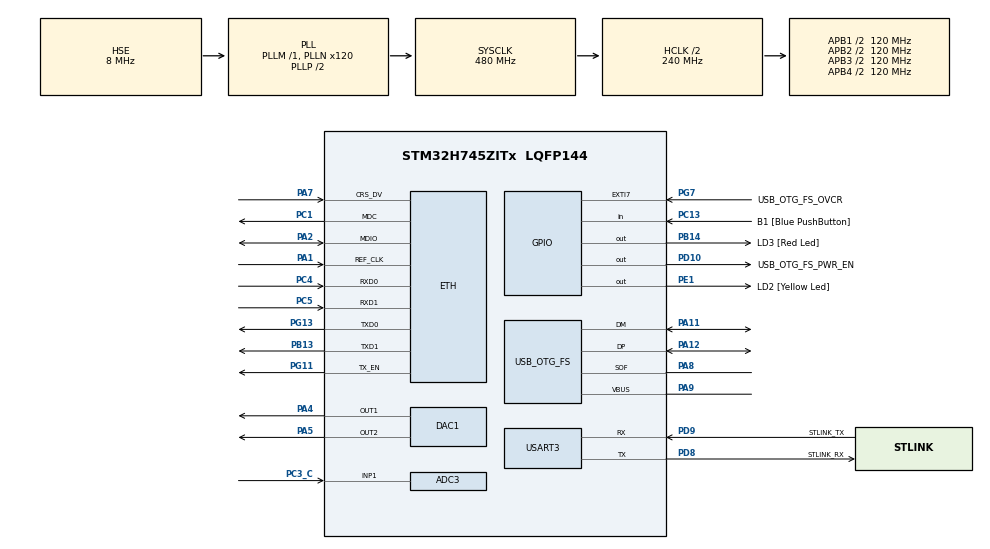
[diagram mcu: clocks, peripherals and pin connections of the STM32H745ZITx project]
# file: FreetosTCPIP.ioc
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ADC3.Channel-0\#ChannelRegularConversion=ADC_CHANNEL_1
ADC3.NbrOfConversionFlag=1
ADC3.OffsetNumber-0\#ChannelRegularConversion=ADC_OFFSET_NONE
ADC3.OffsetSignedSaturation-0\#ChannelRegularConversion=DISABLE
ADC3.Rank-0\#ChannelRegularConversion=1
ADC3.SamplingTime-0\#ChannelRegularConversion=ADC_SAMPLETIME_1CYCLE_5
Bdma.ADC3.0.Direction=DMA_PERIPH_TO_MEMORY
Bdma.ADC3.0.EventEnable=DISABLE
Bdma.ADC3.0.Instance=BDMA_Channel0
Bdma.ADC3.0.MemDataAlignment=DMA_MDATAALIGN_HALFWORD
Bdma.ADC3.0.MemInc=DMA_MINC_ENABLE
Bdma.ADC3.0.Mode=DMA_CIRCULAR
Bdma.ADC3.0.PeriphDataAlignment=DMA_PDATAALIGN_HALFWORD
Bdma.ADC3.0.PeriphInc=DMA_PINC_DISABLE
Bdma.ADC3.0.Polarity=HAL_DMAMUX_REQ_GEN_RISING
Bdma.ADC3.0.Priority=DMA_PRIORITY_LOW
Bdma.ADC3.0.RequestNumber=1
Bdma.ADC3.0.SignalID=NONE
Bdma.ADC3.0.SyncEnable=DISABLE
Bdma.ADC3.0.SyncPolarity=HAL_DMAMUX_SYNC_NO_EVENT
Bdma.ADC3.0.SyncRequestNumber=1
Bdma.ADC3.0.SyncSignalID=NONE
Bdma.Request0=ADC3
Bdma.RequestsNb=1
CORTEX_M7.AccessPermission-Cortex_Memory_Protection_Unit_Region0_Settings=MPU_REGION_FULL_ACCESS
CORTEX_M7.CPU_DCache=Enabled
CORTEX_M7.CPU_ICache=Enabled
CORTEX_M7.Enable-Cortex_Memory_Protection_Unit_Region0_Settings=MPU_REGION_ENABLE
CORTEX_M7.IsBufferable-Cortex_Memory_Protection_Unit_Region0_Settings=MPU_ACCESS_BUFFERABLE
CORTEX_M7.IsCacheable-Cortex_Memory_Protection_Unit_Region0_Settings=MPU_ACCESS_CACHEABLE
CORTEX_M7.IsShareable-Cortex_Memory_Protection_Unit_Region0_Settings=MPU_ACCESS_SHAREABLE
CORTEX_M7.MPU_Control=MPU_PRIVILEGED_DEFAULT
CORTEX_M7.Size-Cortex_Memory_Protection_Unit_Region0_Settings=MPU_REGION_SIZE_512KB
CortexM4.IPs=FATFS_M4\:I,FREERTOS_M4\:I,IWDG2\:I,RCC,WWDG2\:I,DMA,BDMA,MDMA,NVIC2\:I,USART3,DEBUG,USB_DEVICE_M4\:I,USB_HOST_M4\:I,PDM2PCM_M4\:I,PWR,RESMGR_UTILITY,SYS_M4\:I,CORTEX_M4\:I,OPENAMP_M4\:I,VREFBUF
CortexM7.IPs=FATFS_M7\:I,FREERTOS_M7\:I,IWDG1\:I,RCC\:I,WWDG1\:I,DMA\:I,BDMA\:I,MDMA\:I,NVIC1\:I,SYS\:I,USART3\:I,USB_OTG_FS\:I,CORTEX_M7\:I,DEBUG\:I,USB_DEVICE_M7\:I,USB_HOST_M7\:I,PDM2PCM_M7\:I,PWR\:I,RESMGR_UTILITY\:I,OPENAMP_M7\:I,VREFBUF\:I,ADC3\:I,DAC1\:I,TIM6\:I,ETH\:I
DAC1.DAC_Channel-DAC_OUT2=DAC_CHANNEL_2
Dma.DAC1_CH1.0.Direction=DMA_MEMORY_TO_PERIPH
Dma.DAC1_CH1.0.EventEnable=DISABLE
Dma.DAC1_CH1.0.FIFOMode=DMA_FIFOMODE_DISABLE
Dma.DAC1_CH1.0.Instance=DMA1_Stream0
Dma.DAC1_CH1.0.MemDataAlignment=DMA_MDATAALIGN_HALFWORD
Dma.DAC1_CH1.0.MemInc=DMA_MINC_ENABLE
Dma.DAC1_CH1.0.Mode=DMA_CIRCULAR
Dma.DAC1_CH1.0.PeriphDataAlignment=DMA_PDATAALIGN_HALFWORD
Dma.DAC1_CH1.0.PeriphInc=DMA_PINC_DISABLE
Dma.DAC1_CH1.0.Polarity=HAL_DMAMUX_REQ_GEN_RISING
Dma.DAC1_CH1.0.Priority=DMA_PRIORITY_LOW
Dma.DAC1_CH1.0.RequestNumber=1
Dma.DAC1_CH1.0.SignalID=NONE
Dma.DAC1_CH1.0.SyncEnable=DISABLE
Dma.DAC1_CH1.0.SyncPolarity=HAL_DMAMUX_SYNC_NO_EVENT
Dma.DAC1_CH1.0.SyncRequestNumber=1
Dma.DAC1_CH1.0.SyncSignalID=NONE
Dma.DAC1_CH2.1.Direction=DMA_MEMORY_TO_PERIPH
Dma.DAC1_CH2.1.EventEnable=DISABLE
Dma.DAC1_CH2.1.FIFOMode=DMA_FIFOMODE_DISABLE
Dma.DAC1_CH2.1.Instance=DMA1_Stream1
Dma.DAC1_CH2.1.MemDataAlignment=DMA_MDATAALIGN_HALFWORD
Dma.DAC1_CH2.1.MemInc=DMA_MINC_ENABLE
Dma.DAC1_CH2.1.Mode=DMA_CIRCULAR
Dma.DAC1_CH2.1.PeriphDataAlignment=DMA_PDATAALIGN_HALFWORD
Dma.DAC1_CH2.1.PeriphInc=DMA_PINC_DISABLE
Dma.DAC1_CH2.1.Polarity=HAL_DMAMUX_REQ_GEN_RISING
Dma.DAC1_CH2.1.Priority=DMA_PRIORITY_LOW
Dma.DAC1_CH2.1.RequestNumber=1
Dma.DAC1_CH2.1.SignalID=NONE
Dma.DAC1_CH2.1.SyncEnable=DISABLE
Dma.DAC1_CH2.1.SyncPolarity=HAL_DMAMUX_SYNC_NO_EVENT
Dma.DAC1_CH2.1.SyncRequestNumber=1
Dma.DAC1_CH2.1.SyncSignalID=NONE
Dma.Request0=DAC1_CH1
Dma.Request1=DAC1_CH2
ETH.ETH_RX_DESC_CNT=6
ETH.ETH_TX_DESC_CNT=14
ETH.MediaInterface=HAL_ETH_RMII_MODE
ETH.RxBuffAddress=0x30040294
ETH.TxDescAddress=0x30040144
Mcu.Family=STM32H7
Mcu.Name=STM32H745ZITx
Mcu.Package=LQFP144
NVIC1.BDMA_Channel0_IRQn=true\:0\:0\:false\:false\:true\:false\:true
NVIC1.DMA1_Stream0_IRQn=true\:0\:0\:false\:false\:true\:false\:true
NVIC1.DMA1_Stream1_IRQn=true\:0\:0\:false\:false\:true\:false\:true
NVIC1.ETH_IRQn=true\:0\:0\:false\:false\:true\:true\:true
NVIC1.PriorityGroup=NVIC_PRIORITYGROUP_4
NVIC1.TIM2_IRQn=true\:0\:0\:false\:false\:true\:false\:true
NVIC1.TIM6_DAC_IRQn=true\:0\:0\:false\:false\:true\:true\:true
NVIC1.TimeBase=TIM2_IRQn
NVIC1.TimeBaseIP=TIM2
NVIC2.PriorityGroup=NVIC_PRIORITYGROUP_4
PA1.GPIO_Speed=GPIO_SPEED_FREQ_VERY_HIGH
PA1.Mode=RMII
PA1.PinAttribute=CortexM7
PA1.Signal=ETH_REF_CLK
PA11.Mode=Device_Only
PA11.PinAttribute=CortexM7
PA11.Signal=USB_OTG_FS_DM
PA12.Mode=Device_Only
PA12.PinAttribute=CortexM7
PA12.Signal=USB_OTG_FS_DP
PA2.GPIO_Speed=GPIO_SPEED_FREQ_VERY_HIGH
PA2.Mode=RMII
PA2.PinAttribute=CortexM7
PA2.Signal=ETH_MDIO
PA4.PinAttribute=CortexM7
PA4.Signal=COMP_DAC11_group
PA5.PinAttribute=CortexM7
PA5.Signal=COMP_DAC12_group
PA7.GPIO_Speed=GPIO_SPEED_FREQ_VERY_HIGH
PA7.Mode=RMII
PA7.PinAttribute=CortexM7
PA7.Signal=ETH_CRS_DV
PA8.Mode=Activate_SOF_FS
PA8.PinAttribute=CortexM7
PA8.Signal=USB_OTG_FS_SOF
PA9.Mode=Activate_VBUS
PA9.PinAttribute=CortexM7
PA9.Signal=USB_OTG_FS_VBUS
PB0.PinAttribute=CortexM7
PB0.Signal=ETH_RXD2
PB13.GPIO_Speed=GPIO_SPEED_FREQ_VERY_HIGH
PB13.Mode=RMII
PB13.PinAttribute=CortexM7
PB13.Signal=ETH_TXD1
PB14.GPIO_Label=LD3 [Red Led]
PB14.PinAttribute=Free
PB14.Signal=GPIO_Output
PC1.GPIO_Speed=GPIO_SPEED_FREQ_VERY_HIGH
PC1.Mode=RMII
PC1.PinAttribute=CortexM7
PC1.Signal=ETH_MDC
PC13.GPIO_Label=B1 [Blue PushButton]
PC13.PinAttribute=Free
PC13.Signal=GPIO_Input
PC14-OSC32_IN\ (OSC32_IN).Mode=LSE-External-Oscillator
PC14-OSC32_IN\ (OSC32_IN).PinAttribute=CortexM7
PC14-OSC32_IN\ (OSC32_IN).Signal=RCC_OSC32_IN
PC15-OSC32_OUT\ (OSC32_OUT).Mode=LSE-External-Oscillator
PC15-OSC32_OUT\ (OSC32_OUT).PinAttribute=CortexM7
PC15-OSC32_OUT\ (OSC32_OUT).Signal=RCC_OSC32_OUT
PC3_C.Mode=IN1-Single-Ended
PC3_C.PinAttribute=CortexM7
PC3_C.Signal=ADC3_INP1
PC4.GPIO_Speed=GPIO_SPEED_FREQ_VERY_HIGH
PC4.Mode=RMII
PC4.PinAttribute=CortexM7
PC4.Signal=ETH_RXD0
PC5.GPIO_Speed=GPIO_SPEED_FREQ_VERY_HIGH
PC5.Mode=RMII
PC5.PinAttribute=CortexM7
PC5.Signal=ETH_RXD1
PD10.GPIO_Label=USB_OTG_FS_PWR_EN
PD10.PinAttribute=Free
PD10.Signal=GPIO_Output
PD8.GPIO_Label=STLINK_RX
PD8.Mode=Asynchronous
PD8.PinAttribute=CortexM7
PD8.Signal=USART3_TX
PD9.GPIO_Label=STLINK_TX
PD9.Mode=Asynchronous
PD9.PinAttribute=CortexM7
PD9.Signal=USART3_RX
PE1.GPIO_Label=LD2 [Yellow Led]
PE1.PinAttribute=Free
PE1.Signal=GPIO_Output
PG11.GPIO_Speed=GPIO_SPEED_FREQ_VERY_HIGH
PG11.Mode=RMII
PG11.PinAttribute=CortexM7
PG11.Signal=ETH_TX_EN
PG13.GPIO_Speed=GPIO_SPEED_FREQ_VERY_HIGH
PG13.Mode=RMII
PG13.PinAttribute=CortexM7
PG13.Signal=ETH_TXD0
PG7.GPIO_Label=USB_OTG_FS_OVCR
PG7.PinAttribute=Free
PG7.Signal=GPXTI7
PH0-OSC_IN\ (PH0).Mode=HSE-External-Clock-Source
PH0-OSC_IN\ (PH0).PinAttribute=CortexM7
PH0-OSC_IN\ (PH0).Signal=RCC_OSC_IN
PH1-OSC_OUT\ (PH1).PinAttribute=CortexM7
PH1-OSC_OUT\ (PH1).Signal=RCC_OSC_OUT
ProjectManager.HeapSize=0x200
ProjectManager.StackSize=0x400
ProjectManager.TargetToolchain=STM32CubeIDE
RCC.ADCFreq_Value=50666666.666666664
RCC.APB1Freq_Value=120000000
RCC.APB2Freq_Value=120000000
RCC.APB3Freq_Value=120000000
RCC.APB4Freq_Value=120000000
RCC.CortexFreq_Value=480000000
RCC.D1PPRE=RCC_APB3_DIV2
RCC.D2PPRE1=RCC_APB1_DIV2
RCC.D2PPRE2=RCC_APB2_DIV2
RCC.D3PPRE=RCC_APB4_DIV2
RCC.DIVM1=1
RCC.DIVM2=1
RCC.DIVM3=1
RCC.DIVN1=120
RCC.DIVN2=19
RCC.DIVN3=24
RCC.DIVP2=3
RCC.DIVQ3=4
RCC.HCLKFreq_Value=240000000
RCC.HPRE=RCC_HCLK_DIV2
RCC.HSE_VALUE=8000000
RCC.PLL2FRACN=0
RCC.PLL3FRACN=0
RCC.PLLFRACN=0
RCC.SYSCLKFreq_VALUE=480000000
RCC.SYSCLKSource=RCC_SYSCLKSOURCE_PLLCLK
RCC.SupplySource=PWR_DIRECT_SMPS_SUPPLY
RCC.USBCLockSelection=RCC_USBCLKSOURCE_PLL3
RCC.USBFreq_Value=48000000
SH.COMP_DAC11_group.0=DAC1_OUT1,DAC_OUT1
SH.COMP_DAC12_group.0=DAC1_OUT2,DAC_OUT2
TIM6.Period=100
TIM6.Prescaler=100
USART3.VirtualMode-Asynchronous=VM_ASYNC
USB_OTG_FS.VirtualMode=Device_Only
VP_SYS_M4_VS_Systick.Mode=SysTick
VP_SYS_VS_tim2.Mode=TIM2
VP_TIM6_VS_ClockSourceINT.Mode=Enable_Timer
board=NUCLEO-H745ZI-Q

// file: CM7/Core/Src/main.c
/* USER CODE BEGIN Header */
/**
 ******************************************************************************
 * @file           : main.c
 * @brief          : Main program body
 ******************************************************************************
 * @attention
 *
 * <h2><center>&copy; Copyright (c) 2020 STMicroelectronics.
 * All rights reserved.</center></h2>
 *
 * This software component is licensed by ST under BSD 3-Clause license,
 * the "License"; You may not use this file except in compliance with the
 * License. You may obtain a copy of the License at:
 *                        opensource.org/licenses/BSD-3-Clause
 *
 ******************************************************************************
 */
/* USER CODE END Header */
#include "main.h"
#include "string.h"

/* USER CODE BEGIN Includes */
#include <FreeRTOSConfig.h>
#include <FreeRTOS.h>
#include <FreeRTOSIPConfig.h>
#include <FreeRTOS_IP.h>
#include <FreeRTOS_Sockets.h>
#include <task.h>
#include <stdio.h>
#include <stdlib.h>
/* USER CODE END Includes */

/* USER CODE BEGIN PTD */
/* The MAC address array is not declared const as the MAC address will
normally be read from an EEPROM and not hard coded (in real deployed
applications).*/
static uint8_t ucMACAddress[ 6 ] = { 0x44, 0x11, 0x22, 0x33, 0x44, 0x55 };

/* Define the network addressing.  These parameters will be used if either
ipconfigUDE_DHCP is 0 or if ipconfigUSE_DHCP is 1 but DHCP auto configuration
failed. */
static const uint8_t ucIPAddress[ 4 ] = { 192, 168, 0, 45 };
static const uint8_t ucNetMask[ 4 ] = { 255, 255, 255, 0 };
static const uint8_t ucGatewayAddress[ 4 ] = { 192, 168, 0, 1 };

/* The following is the address of an OpenDNS server. */
static const uint8_t ucDNSServerAddress[ 4 ] = { 192, 168, 0, 1 };
/* USER CODE END PTD */

/* USER CODE BEGIN PD */

#define HSEM_ID_0 (0U) /* HW semaphore 0*/
/* USER CODE END PD */

#if defined ( __ICCARM__ ) /*!< IAR Compiler */

#pragma location=0x30040000
ETH_DMADescTypeDef  DMARxDscrTab[ETH_RX_DESC_CNT]; /* Ethernet Rx DMA Descriptors */
#pragma location=0x30040144
ETH_DMADescTypeDef  DMATxDscrTab[ETH_TX_DESC_CNT]; /* Ethernet Tx DMA Descriptors */
#pragma location=0x30040294
uint8_t Rx_Buff[ETH_RX_DESC_CNT][ETH_MAX_PACKET_SIZE]; /* Ethernet Receive Buffers */

#elif defined ( __CC_ARM )  /* MDK ARM Compiler */

__attribute__((at(0x30040000))) ETH_DMADescTypeDef  DMARxDscrTab[ETH_RX_DESC_CNT]; /* Ethernet Rx DMA Descriptors */
__attribute__((at(0x30040144))) ETH_DMADescTypeDef  DMATxDscrTab[ETH_TX_DESC_CNT]; /* Ethernet Tx DMA Descriptors */
__attribute__((at(0x30040294))) uint8_t Rx_Buff[ETH_RX_DESC_CNT][ETH_MAX_PACKET_SIZE]; /* Ethernet Receive Buffer */

#elif defined ( __GNUC__ ) /* GNU Compiler */

//ETH_DMADescTypeDef DMARxDscrTab[ETH_RX_DESC_CNT] __attribute__((section(".RxDecripSection"))); /* Ethernet Rx DMA Descriptors */
//ETH_DMADescTypeDef DMATxDscrTab[ETH_TX_DESC_CNT] __attribute__((section(".TxDecripSection")));   /* Ethernet Tx DMA Descriptors */
//uint8_t Rx_Buff[ETH_RX_DESC_CNT][ETH_MAX_PACKET_SIZE] __attribute__((section(".RxArraySection"))); /* Ethernet Receive Buffers */

#endif

ETH_TxPacketConfig TxConfig;
ADC_HandleTypeDef hadc3;
DMA_HandleTypeDef hdma_adc3;

DAC_HandleTypeDef hdac1;
DMA_HandleTypeDef hdma_dac1_ch1;
DMA_HandleTypeDef hdma_dac1_ch2;

ETH_HandleTypeDef heth;

TIM_HandleTypeDef htim6;

UART_HandleTypeDef huart3;

PCD_HandleTypeDef hpcd_USB_OTG_FS;

void SystemClock_Config(void);
static void MPU_Config(void);
static void MX_GPIO_Init(void);
static void MX_BDMA_Init(void);
static void MX_DMA_Init(void);
static void MX_USART3_UART_Init(void);
static void MX_USB_OTG_FS_PCD_Init(void);
static void MX_ADC3_Init(void);
static void MX_DAC1_Init(void);
static void MX_TIM6_Init(void);
static void MX_ETH_Init(void);
/* USER CODE BEGIN PFP */
static void prvM7CoreTasks( void *pvParameters );
BaseType_t xApplicationGetRandomNumber( uint32_t *pulNumber );
const char *pcApplicationHostnameHook( void );
/*
 * Generate a randomized TCP Initial Sequence Number per RFC.
 * This function must be provided by the application builder.
 */
/* This function is defined generally by the application. */
uint32_t ulApplicationGetNextSequenceNumber( uint32_t ulSourceAddress,
		uint16_t usSourcePort,
		uint32_t ulDestinationAddress,
		uint16_t usDestinationPort );
/* USER CODE END PFP */

/* USER CODE BEGIN 0 */
static TaskHandle_t xM7AMPTask;
/* USER CODE END 0 */

int main(void)
{

	/* USER CODE BEGIN Boot_Mode_Sequence_0 */
	int32_t timeout;
	/* USER CODE END Boot_Mode_Sequence_0 */

	/* MPU Configuration--------------------------------------------------------*/
	MPU_Config();

	/* Enable I-Cache---------------------------------------------------------*/
	SCB_EnableICache();

	/* Enable D-Cache---------------------------------------------------------*/
	SCB_EnableDCache();

	/* USER CODE BEGIN Boot_Mode_Sequence_1 */
	/* Wait until CPU2 boots and enters in stop mode or timeout*/
	timeout = 0xFFFF;
	while((__HAL_RCC_GET_FLAG(RCC_FLAG_D2CKRDY) != RESET) && (timeout-- > 0));
	if ( timeout < 0 )
	{
		Error_Handler();
	}
	/* USER CODE END Boot_Mode_Sequence_1 */
	/* MCU Configuration--------------------------------------------------------*/

	/* Reset of all peripherals, Initializes the Flash interface and the Systick. */
	HAL_Init();

	/* Configure the system clock */
	SystemClock_Config();
	/* USER CODE BEGIN Boot_Mode_Sequence_2 */
	/* When system initialization is finished, Cortex-M7 will release Cortex-M4 by means of
HSEM notification */
	/*HW semaphore Clock enable*/
	__HAL_RCC_HSEM_CLK_ENABLE();
	/*Take HSEM */
	HAL_HSEM_FastTake(HSEM_ID_0);
	/*Release HSEM in order to notify the CPU2(CM4)*/
	HAL_HSEM_Release(HSEM_ID_0,0);
	/* wait until CPU2 wakes up from stop mode */
	timeout = 0xFFFF;
	while((__HAL_RCC_GET_FLAG(RCC_FLAG_D2CKRDY) == RESET) && (timeout-- > 0));
	if ( timeout < 0 )
	{
		Error_Handler();
	}
	/* USER CODE END Boot_Mode_Sequence_2 */

	/* Initialize all configured peripherals */
	MX_GPIO_Init();
	MX_BDMA_Init();
	MX_DMA_Init();
	MX_USART3_UART_Init();
	MX_USB_OTG_FS_PCD_Init();
	MX_ADC3_Init();
	MX_DAC1_Init();
	MX_TIM6_Init();
	//  MX_ETH_Init();
	/* USER CODE BEGIN 2 */
	/* Initialise the RTOS’s TCP/IP stack.  The tasks that use the network
  are created in the vApplicationIPNetworkEventHook() hook function
  below.  The hook function is called when the network connects. */
	FreeRTOS_IPInit( ucIPAddress,
			ucNetMask,
			ucGatewayAddress,
			ucDNSServerAddress,
			ucMACAddress );

	/* Start the task that executes on the M7 core. */
	xTaskCreate( prvM7CoreTasks, 			/* Function that implements the task. */
			"AMPM7Core", 				/* Task name, for debugging only. */
			configMINIMAL_STACK_SIZE,  /* Size of stack (in words) to allocate for this task. */
			NULL, 						/* Task parameter, not used in this case. */
			tskIDLE_PRIORITY, 			/* Task priority. */
			&xM7AMPTask );				/* Task handle, used to unblock task from interrupt. */

	/* Start scheduler */
	vTaskStartScheduler();

	/* USER CODE END 2 */

	/* Infinite loop */
	while (1)
	{

	}
}

void SystemClock_Config(void)
{
	RCC_OscInitTypeDef RCC_OscInitStruct = {0};
	RCC_ClkInitTypeDef RCC_ClkInitStruct = {0};
	RCC_PeriphCLKInitTypeDef PeriphClkInitStruct = {0};

	/** Supply configuration update enable
	 */
	HAL_PWREx_ConfigSupply(PWR_DIRECT_SMPS_SUPPLY);
	/** Configure the main internal regulator output voltage
	 */
	__HAL_PWR_VOLTAGESCALING_CONFIG(PWR_REGULATOR_VOLTAGE_SCALE0);

	while(!__HAL_PWR_GET_FLAG(PWR_FLAG_VOSRDY)) {}
	/** Macro to configure the PLL clock source
	 */
	__HAL_RCC_PLL_PLLSOURCE_CONFIG(RCC_PLLSOURCE_HSE);
	/** Initializes the RCC Oscillators according to the specified parameters
	 * in the RCC_OscInitTypeDef structure.
	 */
	RCC_OscInitStruct.OscillatorType = RCC_OSCILLATORTYPE_HSE;
	RCC_OscInitStruct.HSEState = RCC_HSE_BYPASS;
	RCC_OscInitStruct.PLL.PLLState = RCC_PLL_ON;
	RCC_OscInitStruct.PLL.PLLSource = RCC_PLLSOURCE_HSE;
	RCC_OscInitStruct.PLL.PLLM = 1;
	RCC_OscInitStruct.PLL.PLLN = 120;
	RCC_OscInitStruct.PLL.PLLP = 2;
	RCC_OscInitStruct.PLL.PLLQ = 2;
	RCC_OscInitStruct.PLL.PLLR = 2;
	RCC_OscInitStruct.PLL.PLLRGE = RCC_PLL1VCIRANGE_3;
	RCC_OscInitStruct.PLL.PLLVCOSEL = RCC_PLL1VCOWIDE;
	RCC_OscInitStruct.PLL.PLLFRACN = 0;
	if (HAL_RCC_OscConfig(&RCC_OscInitStruct) != HAL_OK)
	{
		Error_Handler();
	}
	/** Initializes the CPU, AHB and APB buses clocks
	 */
	RCC_ClkInitStruct.ClockType = RCC_CLOCKTYPE_HCLK|RCC_CLOCKTYPE_SYSCLK
			|RCC_CLOCKTYPE_PCLK1|RCC_CLOCKTYPE_PCLK2
			|RCC_CLOCKTYPE_D3PCLK1|RCC_CLOCKTYPE_D1PCLK1;
	RCC_ClkInitStruct.SYSCLKSource = RCC_SYSCLKSOURCE_PLLCLK;
	RCC_ClkInitStruct.SYSCLKDivider = RCC_SYSCLK_DIV1;
	RCC_ClkInitStruct.AHBCLKDivider = RCC_HCLK_DIV2;
	RCC_ClkInitStruct.APB3CLKDivider = RCC_APB3_DIV2;
	RCC_ClkInitStruct.APB1CLKDivider = RCC_APB1_DIV2;
	RCC_ClkInitStruct.APB2CLKDivider = RCC_APB2_DIV2;
	RCC_ClkInitStruct.APB4CLKDivider = RCC_APB4_DIV2;

	if (HAL_RCC_ClockConfig(&RCC_ClkInitStruct, FLASH_LATENCY_4) != HAL_OK)
	{
		Error_Handler();
	}
	PeriphClkInitStruct.PeriphClockSelection = RCC_PERIPHCLK_USART3|RCC_PERIPHCLK_ADC
			|RCC_PERIPHCLK_USB;
	PeriphClkInitStruct.PLL2.PLL2M = 1;
	PeriphClkInitStruct.PLL2.PLL2N = 19;
	PeriphClkInitStruct.PLL2.PLL2P = 3;
	PeriphClkInitStruct.PLL2.PLL2Q = 2;
	PeriphClkInitStruct.PLL2.PLL2R = 2;
	PeriphClkInitStruct.PLL2.PLL2RGE = RCC_PLL2VCIRANGE_3;
	PeriphClkInitStruct.PLL2.PLL2VCOSEL = RCC_PLL2VCOMEDIUM;
	PeriphClkInitStruct.PLL2.PLL2FRACN = 0;
	PeriphClkInitStruct.PLL3.PLL3M = 1;
	PeriphClkInitStruct.PLL3.PLL3N = 24;
	PeriphClkInitStruct.PLL3.PLL3P = 2;
	PeriphClkInitStruct.PLL3.PLL3Q = 4;
	PeriphClkInitStruct.PLL3.PLL3R = 2;
	PeriphClkInitStruct.PLL3.PLL3RGE = RCC_PLL3VCIRANGE_3;
	PeriphClkInitStruct.PLL3.PLL3VCOSEL = RCC_PLL3VCOWIDE;
	PeriphClkInitStruct.PLL3.PLL3FRACN = 0;
	PeriphClkInitStruct.Usart234578ClockSelection = RCC_USART234578CLKSOURCE_D2PCLK1;
	PeriphClkInitStruct.UsbClockSelection = RCC_USBCLKSOURCE_PLL3;
	PeriphClkInitStruct.AdcClockSelection = RCC_ADCCLKSOURCE_PLL2;
	if (HAL_RCCEx_PeriphCLKConfig(&PeriphClkInitStruct) != HAL_OK)
	{
		Error_Handler();
	}
	/** Enable USB Voltage detector
	 */
	HAL_PWREx_EnableUSBVoltageDetector();
}

static void MX_ADC3_Init(void)
{

	ADC_ChannelConfTypeDef sConfig = {0};

	/** Common config
	 */
	hadc3.Instance = ADC3;
	hadc3.Init.ClockPrescaler = ADC_CLOCK_ASYNC_DIV1;
	hadc3.Init.Resolution = ADC_RESOLUTION_16B;
	hadc3.Init.ScanConvMode = ADC_SCAN_DISABLE;
	hadc3.Init.EOCSelection = ADC_EOC_SINGLE_CONV;
	hadc3.Init.LowPowerAutoWait = DISABLE;
	hadc3.Init.ContinuousConvMode = DISABLE;
	hadc3.Init.NbrOfConversion = 1;
	hadc3.Init.DiscontinuousConvMode = DISABLE;
	hadc3.Init.ExternalTrigConv = ADC_SOFTWARE_START;
	hadc3.Init.ExternalTrigConvEdge = ADC_EXTERNALTRIGCONVEDGE_NONE;
	hadc3.Init.ConversionDataManagement = ADC_CONVERSIONDATA_DR;
	hadc3.Init.Overrun = ADC_OVR_DATA_PRESERVED;
	hadc3.Init.LeftBitShift = ADC_LEFTBITSHIFT_NONE;
	hadc3.Init.OversamplingMode = DISABLE;
	if (HAL_ADC_Init(&hadc3) != HAL_OK)
	{
		Error_Handler();
	}
	/** Configure Regular Channel
	 */
	sConfig.Channel = ADC_CHANNEL_1;
	sConfig.Rank = ADC_REGULAR_RANK_1;
	sConfig.SamplingTime = ADC_SAMPLETIME_1CYCLE_5;
	sConfig.SingleDiff = ADC_SINGLE_ENDED;
	sConfig.OffsetNumber = ADC_OFFSET_NONE;
	sConfig.Offset = 0;
	sConfig.OffsetSignedSaturation = DISABLE;
	if (HAL_ADC_ConfigChannel(&hadc3, &sConfig) != HAL_OK)
	{
		Error_Handler();
	}

}

static void MX_DAC1_Init(void)
{

	DAC_ChannelConfTypeDef sConfig = {0};

	/** DAC Initialization
	 */
	hdac1.Instance = DAC1;
	if (HAL_DAC_Init(&hdac1) != HAL_OK)
	{
		Error_Handler();
	}
	/** DAC channel OUT1 config
	 */
	sConfig.DAC_SampleAndHold = DAC_SAMPLEANDHOLD_DISABLE;
	sConfig.DAC_Trigger = DAC_TRIGGER_NONE;
	sConfig.DAC_OutputBuffer = DAC_OUTPUTBUFFER_ENABLE;
	sConfig.DAC_ConnectOnChipPeripheral = DAC_CHIPCONNECT_DISABLE;
	sConfig.DAC_UserTrimming = DAC_TRIMMING_FACTORY;
	if (HAL_DAC_ConfigChannel(&hdac1, &sConfig, DAC_CHANNEL_1) != HAL_OK)
	{
		Error_Handler();
	}
	/** DAC channel OUT2 config
	 */
	sConfig.DAC_ConnectOnChipPeripheral = DAC_CHIPCONNECT_DISABLE;
	if (HAL_DAC_ConfigChannel(&hdac1, &sConfig, DAC_CHANNEL_2) != HAL_OK)
	{
		Error_Handler();
	}

}

static void MX_ETH_Init(void)
{

	heth.Instance = ETH;
	heth.Init.MACAddr[0] =   0x00;
	heth.Init.MACAddr[1] =   0x80;
	heth.Init.MACAddr[2] =   0xE1;
	heth.Init.MACAddr[3] =   0x00;
	heth.Init.MACAddr[4] =   0x00;
	heth.Init.MACAddr[5] =   0x00;
	heth.Init.MediaInterface = HAL_ETH_RMII_MODE;
	//  heth.Init.TxDesc = DMATxDscrTab;
	//  heth.Init.RxDesc = DMARxDscrTab;
	heth.Init.RxBuffLen = 1524;

	if (HAL_ETH_Init(&heth) != HAL_OK)
	{
		Error_Handler();
	}

	memset(&TxConfig, 0 , sizeof(ETH_TxPacketConfig));
	TxConfig.Attributes = ETH_TX_PACKETS_FEATURES_CSUM | ETH_TX_PACKETS_FEATURES_CRCPAD;
	TxConfig.ChecksumCtrl = ETH_CHECKSUM_IPHDR_PAYLOAD_INSERT_PHDR_CALC;
	TxConfig.CRCPadCtrl = ETH_CRC_PAD_INSERT;

}

static void MX_TIM6_Init(void)
{

	TIM_MasterConfigTypeDef sMasterConfig = {0};

	htim6.Instance = TIM6;
	htim6.Init.Prescaler = 100;
	htim6.Init.CounterMode = TIM_COUNTERMODE_UP;
	htim6.Init.Period = 100;
	htim6.Init.AutoReloadPreload = TIM_AUTORELOAD_PRELOAD_DISABLE;
	if (HAL_TIM_Base_Init(&htim6) != HAL_OK)
	{
		Error_Handler();
	}
	sMasterConfig.MasterOutputTrigger = TIM_TRGO_RESET;
	sMasterConfig.MasterSlaveMode = TIM_MASTERSLAVEMODE_DISABLE;
	if (HAL_TIMEx_MasterConfigSynchronization(&htim6, &sMasterConfig) != HAL_OK)
	{
		Error_Handler();
	}

}

static void MX_USART3_UART_Init(void)
{

	huart3.Instance = USART3;
	huart3.Init.BaudRate = 115200;
	huart3.Init.WordLength = UART_WORDLENGTH_8B;
	huart3.Init.StopBits = UART_STOPBITS_1;
	huart3.Init.Parity = UART_PARITY_NONE;
	huart3.Init.Mode = UART_MODE_TX_RX;
	huart3.Init.HwFlowCtl = UART_HWCONTROL_NONE;
	huart3.Init.OverSampling = UART_OVERSAMPLING_16;
	huart3.Init.OneBitSampling = UART_ONE_BIT_SAMPLE_DISABLE;
	huart3.Init.ClockPrescaler = UART_PRESCALER_DIV1;
	huart3.AdvancedInit.AdvFeatureInit = UART_ADVFEATURE_NO_INIT;
	if (HAL_UART_Init(&huart3) != HAL_OK)
	{
		Error_Handler();
	}
	if (HAL_UARTEx_SetTxFifoThreshold(&huart3, UART_TXFIFO_THRESHOLD_1_8) != HAL_OK)
	{
		Error_Handler();
	}
	if (HAL_UARTEx_SetRxFifoThreshold(&huart3, UART_RXFIFO_THRESHOLD_1_8) != HAL_OK)
	{
		Error_Handler();
	}
	if (HAL_UARTEx_DisableFifoMode(&huart3) != HAL_OK)
	{
		Error_Handler();
	}

}

static void MX_USB_OTG_FS_PCD_Init(void)
{

	hpcd_USB_OTG_FS.Instance = USB_OTG_FS;
	hpcd_USB_OTG_FS.Init.dev_endpoints = 9;
	hpcd_USB_OTG_FS.Init.speed = PCD_SPEED_FULL;
	hpcd_USB_OTG_FS.Init.dma_enable = DISABLE;
	hpcd_USB_OTG_FS.Init.phy_itface = PCD_PHY_EMBEDDED;
	hpcd_USB_OTG_FS.Init.Sof_enable = DISABLE;
	hpcd_USB_OTG_FS.Init.low_power_enable = DISABLE;
	hpcd_USB_OTG_FS.Init.lpm_enable = DISABLE;
	hpcd_USB_OTG_FS.Init.battery_charging_enable = ENABLE;
	hpcd_USB_OTG_FS.Init.vbus_sensing_enable = ENABLE;
	hpcd_USB_OTG_FS.Init.use_dedicated_ep1 = DISABLE;
	if (HAL_PCD_Init(&hpcd_USB_OTG_FS) != HAL_OK)
	{
		Error_Handler();
	}

}

static void MX_BDMA_Init(void)
{

	/* DMA controller clock enable */
	__HAL_RCC_BDMA_CLK_ENABLE();

	/* DMA interrupt init */
	/* BDMA_Channel0_IRQn interrupt configuration */
	HAL_NVIC_SetPriority(BDMA_Channel0_IRQn, 0, 0);
	HAL_NVIC_EnableIRQ(BDMA_Channel0_IRQn);

}

static void MX_DMA_Init(void)
{

	/* DMA controller clock enable */
	__HAL_RCC_DMA1_CLK_ENABLE();

	/* DMA interrupt init */
	/* DMA1_Stream0_IRQn interrupt configuration */
	HAL_NVIC_SetPriority(DMA1_Stream0_IRQn, 0, 0);
	HAL_NVIC_EnableIRQ(DMA1_Stream0_IRQn);
	/* DMA1_Stream1_IRQn interrupt configuration */
	HAL_NVIC_SetPriority(DMA1_Stream1_IRQn, 0, 0);
	HAL_NVIC_EnableIRQ(DMA1_Stream1_IRQn);

}

static void MX_GPIO_Init(void)
{

	/* GPIO Ports Clock Enable */
	__HAL_RCC_GPIOC_CLK_ENABLE();
	__HAL_RCC_GPIOH_CLK_ENABLE();
	__HAL_RCC_GPIOA_CLK_ENABLE();
	__HAL_RCC_GPIOB_CLK_ENABLE();
	__HAL_RCC_GPIOD_CLK_ENABLE();
	__HAL_RCC_GPIOG_CLK_ENABLE();

}

/* USER CODE BEGIN 4 */
uint32_t ulApplicationGetNextSequenceNumber( uint32_t ulSourceAddress,
		uint16_t usSourcePort,
		uint32_t ulDestinationAddress,
		uint16_t usDestinationPort ){
	//todo this is not correct is just to get the thing to compile
	static uint32_t counter = 0;
	return counter++;

}
void prvM7CoreTasks( void *pvParameters ){
	Socket_t xSocket;
	struct freertos_sockaddr xDestinationAddress;
	uint8_t cString[ 50 ];
	uint32_t ulCount = 0UL;
	const TickType_t x1000ms = 1000UL / portTICK_PERIOD_MS;

	/* Send strings to port 10000 on IP address 192.168.0.50. */
	xDestinationAddress.sin_addr = FreeRTOS_inet_addr( "192.168.0.25" );
	xDestinationAddress.sin_port = FreeRTOS_htons( 10000 );

	/* Create the socket. */
	xSocket = FreeRTOS_socket( FREERTOS_AF_INET,
			FREERTOS_SOCK_DGRAM,/*FREERTOS_SOCK_DGRAM for UDP.*/
			FREERTOS_IPPROTO_UDP );

	/* Check the socket was created. */
	configASSERT( xSocket != FREERTOS_INVALID_SOCKET );

	/* NOTE: FreeRTOS_bind() is not called.  This will only work if
	   ipconfigALLOW_SOCKET_SEND_WITHOUT_BIND is set to 1 in FreeRTOSIPConfig.h. */
	for(;;){
		printf("Hello\r\n");
		sprintf( cString,
				"Standard send message number %lurn",
				ulCount );

		/* Send the string to the UDP socket.  ulFlags is set to 0, so the standard
	       semantics are used.  That means the data from cString[] is copied
	       into a network buffer inside FreeRTOS_sendto(), and cString[] can be
	       reused as soon as FreeRTOS_sendto() has returned. */
		printf("length of packet %d\r\n", FreeRTOS_sendto( xSocket,
				cString,
				strlen( cString ),
				0,
				&xDestinationAddress,
				sizeof( xDestinationAddress ) ));

		ulCount++;

		/* Wait until it is time to send again. */
		vTaskDelay( x1000ms );
	}

}
const char *pcApplicationHostnameHook( void ){
	return "ECAMStmDevice";
}

void vApplicationIPNetworkEventHook( eIPCallbackEvent_t eNetworkEvent )
{
	static BaseType_t xTasksAlreadyCreated = pdFALSE;

	/* Both eNetworkUp and eNetworkDown events can be processed here. */
	if( eNetworkEvent == eNetworkUp )
	{
		/* Create the tasks that use the TCP/IP stack if they have not already
        been created. */
		if( xTasksAlreadyCreated == pdFALSE )
		{
			/*
			 * For convenience, tasks that use FreeRTOS+TCP can be created here
			 * to ensure they are not created before the network is usable.
			 */

			xTasksAlreadyCreated = pdTRUE;
		}
	}
}
BaseType_t xApplicationGetRandomNumber( uint32_t *pulNumber ){
	*pulNumber = rand();
	return pdTRUE;
}
//Example vApplicationIPNetworkEventHook() definition

/* configSUPPORT_STATIC_ALLOCATION is set to 1, so the application must provide an
implementation of vApplicationGetIdleTaskMemory() to provide the memory that is
used by the Idle task. */
void vApplicationGetIdleTaskMemory( StaticTask_t **ppxIdleTaskTCBBuffer,
		StackType_t **ppxIdleTaskStackBuffer,
		uint32_t *pulIdleTaskStackSize )
{
	/* If the buffers to be provided to the Idle task are declared inside this
function then they must be declared static – otherwise they will be allocated on
the stack and so not exists after this function exits. */
	static StaticTask_t xIdleTaskTCB;
	static StackType_t uxIdleTaskStack[ configMINIMAL_STACK_SIZE ];

	/* Pass out a pointer to the StaticTask_t structure in which the Idle task’s
    state will be stored. */
	*ppxIdleTaskTCBBuffer = &xIdleTaskTCB;

	/* Pass out the array that will be used as the Idle task’s stack. */
	*ppxIdleTaskStackBuffer = uxIdleTaskStack;

	/* Pass out the size of the array pointed to by *ppxIdleTaskStackBuffer.
    Note that, as the array is necessarily of type StackType_t,
    configMINIMAL_STACK_SIZE is specified in words, not bytes. */
	*pulIdleTaskStackSize = configMINIMAL_STACK_SIZE;
}
/*———————————————————–*/

/* configSUPPORT_STATIC_ALLOCATION and configUSE_TIMERS are both set to 1, so the
application must provide an implementation of vApplicationGetTimerTaskMemory()
to provide the memory that is used by the Timer service task. */
void vApplicationGetTimerTaskMemory( StaticTask_t **ppxTimerTaskTCBBuffer,
		StackType_t **ppxTimerTaskStackBuffer,
		uint32_t *pulTimerTaskStackSize )
{
	/* If the buffers to be provided to the Timer task are declared inside this
function then they must be declared static – otherwise they will be allocated on
the stack and so not exists after this function exits. */
	static StaticTask_t xTimerTaskTCB;
	static StackType_t uxTimerTaskStack[ configTIMER_TASK_STACK_DEPTH ];

	/* Pass out a pointer to the StaticTask_t structure in which the Timer
    task’s state will be stored. */
	*ppxTimerTaskTCBBuffer = &xTimerTaskTCB;

	/* Pass out the array that will be used as the Timer task’s stack. */
	*ppxTimerTaskStackBuffer = uxTimerTaskStack;

	/* Pass out the size of the array pointed to by *ppxTimerTaskStackBuffer.
    Note that, as the array is necessarily of type StackType_t,
    configTIMER_TASK_STACK_DEPTH is specified in words, not bytes. */
	*pulTimerTaskStackSize = configTIMER_TASK_STACK_DEPTH;
}

//Examples of the callback functions that must be provided by the application to
//
//supply the RAM used by the Idle and Timer Service tasks if configSUPPORT_STATIC_ALLOCATION
//
//is set to 1.

/* USER CODE END 4 */

/* MPU Configuration */

void MPU_Config(void)
{
	  MPU_Region_InitTypeDef MPU_InitStruct = {0};

	  /* Disables the MPU */
	  HAL_MPU_Disable();
	  /** Initializes and configures the Region and the memory to be protected
	  */
	  MPU_InitStruct.Enable = MPU_REGION_ENABLE;
	  MPU_InitStruct.Number = MPU_REGION_NUMBER0;
	  MPU_InitStruct.Number = MPU_REGION_NUMBER0;
	  MPU_InitStruct.BaseAddress = 0x30040000;
	  MPU_InitStruct.Size = MPU_REGION_SIZE_16KB;
	  MPU_InitStruct.SubRegionDisable = 0x0;
	  MPU_InitStruct.TypeExtField = MPU_TEX_LEVEL1;
	  MPU_InitStruct.AccessPermission = MPU_REGION_FULL_ACCESS;
	  MPU_InitStruct.DisableExec = MPU_INSTRUCTION_ACCESS_ENABLE;
	  MPU_InitStruct.IsShareable = MPU_ACCESS_NOT_SHAREABLE;
	  MPU_InitStruct.IsCacheable = MPU_ACCESS_NOT_CACHEABLE;
	  MPU_InitStruct.IsBufferable = MPU_ACCESS_NOT_BUFFERABLE;

	  HAL_MPU_ConfigRegion(&MPU_InitStruct);
	  /** Initializes and configures the Region and the memory to be protected
	  */
	  MPU_InitStruct.Enable = MPU_REGION_ENABLE;
	  MPU_InitStruct.Number = MPU_REGION_NUMBER1;
	  MPU_InitStruct.BaseAddress = 0x30044000;
	  MPU_InitStruct.Size = MPU_REGION_SIZE_16KB;
	  MPU_InitStruct.SubRegionDisable = 0x0;
	  MPU_InitStruct.TypeExtField = MPU_TEX_LEVEL0;
	  MPU_InitStruct.AccessPermission = MPU_REGION_FULL_ACCESS;
	  MPU_InitStruct.DisableExec = MPU_INSTRUCTION_ACCESS_ENABLE;
	  MPU_InitStruct.IsShareable = MPU_ACCESS_NOT_SHAREABLE;
	  MPU_InitStruct.IsCacheable = MPU_ACCESS_CACHEABLE;
	  MPU_InitStruct.IsBufferable = MPU_ACCESS_NOT_BUFFERABLE;

	  HAL_MPU_ConfigRegion(&MPU_InitStruct);
	  /** Initializes and configures the Region and the memory to be protected
	  */
	  MPU_InitStruct.Enable = MPU_REGION_ENABLE;
	  MPU_InitStruct.Number = MPU_REGION_NUMBER2;
	  MPU_InitStruct.BaseAddress = 0x30040000;
	  MPU_InitStruct.Size = MPU_REGION_SIZE_256B;
	  MPU_InitStruct.SubRegionDisable = 0x0;
	  MPU_InitStruct.TypeExtField = MPU_TEX_LEVEL0;
	  MPU_InitStruct.AccessPermission = MPU_REGION_FULL_ACCESS;
	  MPU_InitStruct.DisableExec = MPU_INSTRUCTION_ACCESS_ENABLE;
	  MPU_InitStruct.IsShareable = MPU_ACCESS_NOT_SHAREABLE;
	  MPU_InitStruct.IsCacheable = MPU_ACCESS_NOT_CACHEABLE;
	  MPU_InitStruct.IsBufferable = MPU_ACCESS_BUFFERABLE;

	  HAL_MPU_ConfigRegion(&MPU_InitStruct);
	  /* Enables the MPU */
	  HAL_MPU_Enable(MPU_PRIVILEGED_DEFAULT);

}
void HAL_TIM_PeriodElapsedCallback(TIM_HandleTypeDef *htim)
{
	if (htim->Instance == TIM2) {
		HAL_IncTick();
	}
}

void Error_Handler(void)
{
}

/************************ (C) COPYRIGHT STMicroelectronics *****END OF FILE****/
